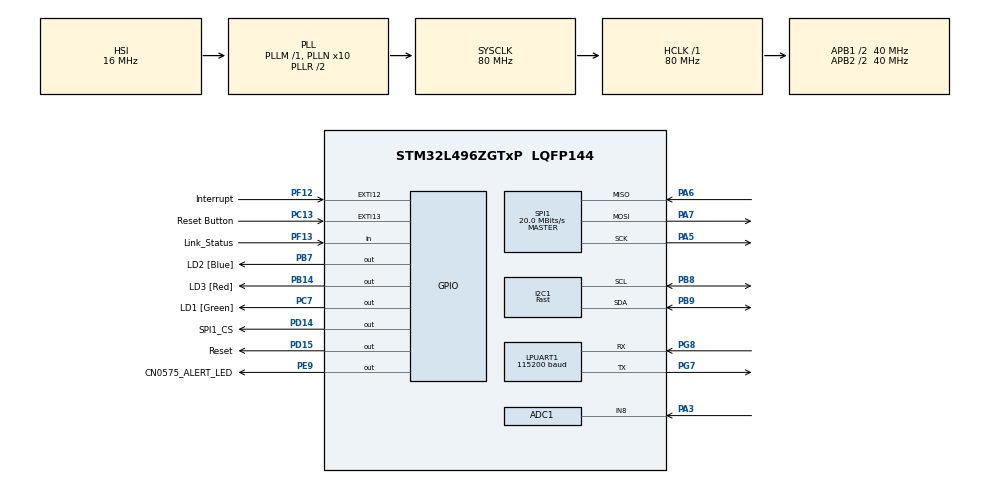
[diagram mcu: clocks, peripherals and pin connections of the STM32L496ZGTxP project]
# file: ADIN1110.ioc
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ADC1.Channel-0\#ChannelRegularConversion=ADC_CHANNEL_8
ADC1.ContinuousConvMode=ENABLE
ADC1.DMAContinuousRequests=ENABLE
ADC1.EnableAnalogWatchDog2=false
ADC1.EnableInjectedConversion=DISABLE
ADC1.NbrOfConversionFlag=1
ADC1.OffsetNumber-0\#ChannelRegularConversion=ADC_OFFSET_NONE
ADC1.Overrun=ADC_OVR_DATA_OVERWRITTEN
ADC1.OversamplingMode=ENABLE
ADC1.Rank-0\#ChannelRegularConversion=1
ADC1.Ratio=ADC_OVERSAMPLING_RATIO_16
ADC1.RightBitShift=ADC_RIGHTBITSHIFT_2
ADC1.SamplingTime-0\#ChannelRegularConversion=ADC_SAMPLETIME_640CYCLES_5
ADC1.master=1
Dma.ADC1.2.Direction=DMA_PERIPH_TO_MEMORY
Dma.ADC1.2.Instance=DMA2_Channel3
Dma.ADC1.2.MemDataAlignment=DMA_MDATAALIGN_HALFWORD
Dma.ADC1.2.MemInc=DMA_MINC_ENABLE
Dma.ADC1.2.Mode=DMA_CIRCULAR
Dma.ADC1.2.PeriphDataAlignment=DMA_PDATAALIGN_HALFWORD
Dma.ADC1.2.PeriphInc=DMA_PINC_DISABLE
Dma.ADC1.2.Priority=DMA_PRIORITY_LOW
Dma.I2C1_RX.3.Direction=DMA_PERIPH_TO_MEMORY
Dma.I2C1_RX.3.Instance=DMA2_Channel6
Dma.I2C1_RX.3.MemDataAlignment=DMA_MDATAALIGN_BYTE
Dma.I2C1_RX.3.MemInc=DMA_MINC_ENABLE
Dma.I2C1_RX.3.Mode=DMA_NORMAL
Dma.I2C1_RX.3.PeriphDataAlignment=DMA_PDATAALIGN_BYTE
Dma.I2C1_RX.3.PeriphInc=DMA_PINC_DISABLE
Dma.I2C1_RX.3.Priority=DMA_PRIORITY_LOW
Dma.I2C1_TX.4.Direction=DMA_MEMORY_TO_PERIPH
Dma.I2C1_TX.4.Instance=DMA2_Channel7
Dma.I2C1_TX.4.MemDataAlignment=DMA_MDATAALIGN_BYTE
Dma.I2C1_TX.4.MemInc=DMA_MINC_ENABLE
Dma.I2C1_TX.4.Mode=DMA_NORMAL
Dma.I2C1_TX.4.PeriphDataAlignment=DMA_PDATAALIGN_BYTE
Dma.I2C1_TX.4.PeriphInc=DMA_PINC_DISABLE
Dma.I2C1_TX.4.Priority=DMA_PRIORITY_LOW
Dma.Request0=SPI1_RX
Dma.Request1=SPI1_TX
Dma.Request2=ADC1
Dma.Request3=I2C1_RX
Dma.Request4=I2C1_TX
Dma.SPI1_RX.0.Direction=DMA_PERIPH_TO_MEMORY
Dma.SPI1_RX.0.Instance=DMA1_Channel2
Dma.SPI1_RX.0.MemDataAlignment=DMA_MDATAALIGN_BYTE
Dma.SPI1_RX.0.MemInc=DMA_MINC_ENABLE
Dma.SPI1_RX.0.Mode=DMA_NORMAL
Dma.SPI1_RX.0.PeriphDataAlignment=DMA_PDATAALIGN_BYTE
Dma.SPI1_RX.0.PeriphInc=DMA_PINC_DISABLE
Dma.SPI1_RX.0.Priority=DMA_PRIORITY_VERY_HIGH
Dma.SPI1_TX.1.Direction=DMA_MEMORY_TO_PERIPH
Dma.SPI1_TX.1.Instance=DMA1_Channel3
Dma.SPI1_TX.1.MemDataAlignment=DMA_MDATAALIGN_BYTE
Dma.SPI1_TX.1.MemInc=DMA_MINC_ENABLE
Dma.SPI1_TX.1.Mode=DMA_NORMAL
Dma.SPI1_TX.1.PeriphDataAlignment=DMA_PDATAALIGN_BYTE
Dma.SPI1_TX.1.PeriphInc=DMA_PINC_DISABLE
Dma.SPI1_TX.1.Priority=DMA_PRIORITY_VERY_HIGH
FREERTOS.Tasks01=defaultTask,24,128,StartDefaultTask,Default,NULL,Dynamic,NULL,NULL
FREERTOS.configCHECK_FOR_STACK_OVERFLOW=2
FREERTOS.configENABLE_FPU=1
FREERTOS.configGENERATE_RUN_TIME_STATS=1
FREERTOS.configTOTAL_HEAP_SIZE=43008
FREERTOS.configUSE_DAEMON_TASK_STARTUP_HOOK=1
FREERTOS.configUSE_IDLE_HOOK=1
FREERTOS.configUSE_MALLOC_FAILED_HOOK=1
FREERTOS.configUSE_NEWLIB_REENTRANT=1
FREERTOS.configUSE_STATS_FORMATTING_FUNCTIONS=1
FREERTOS.configUSE_TICK_HOOK=1
I2C1.I2C_Coeff_DF=1
I2C1.I2C_Fall_Time=300
I2C1.I2C_Rise_Time=300
I2C1.I2C_Speed_Mode=I2C_Fast
I2C1.Timing=0x00F6122E
LPUART1.BaudRate=115200
LPUART1.WordLength=UART_WORDLENGTH_8B
Mcu.Family=STM32L4
Mcu.Name=STM32L496ZGTxP
Mcu.Package=LQFP144
NVIC.DMA1_Channel2_IRQn=true\:0\:0\:true\:true\:true\:3\:false\:true\:true\:true
NVIC.DMA1_Channel3_IRQn=true\:0\:0\:true\:true\:true\:2\:false\:true\:true\:true
NVIC.DMA2_Channel3_IRQn=true\:5\:0\:true\:true\:true\:9\:false\:true\:true\:true
NVIC.DMA2_Channel6_IRQn=true\:5\:0\:true\:true\:true\:7\:false\:true\:true\:true
NVIC.DMA2_Channel7_IRQn=true\:5\:0\:true\:true\:true\:8\:false\:true\:true\:true
NVIC.EXTI15_10_IRQn=true\:0\:0\:true\:true\:true\:4\:false\:true\:true\:true
NVIC.I2C1_ER_IRQn=true\:5\:0\:false\:true\:true\:6\:true\:true\:true\:true
NVIC.I2C1_EV_IRQn=true\:5\:0\:false\:true\:true\:5\:true\:true\:true\:true
NVIC.PriorityGroup=NVIC_PRIORITYGROUP_4
NVIC.SPI1_IRQn=true\:0\:0\:true\:true\:true\:1\:false\:true\:true\:true
NVIC.TIM6_DAC_IRQn=true\:15\:0\:false\:false\:true\:false\:false\:true\:true
NVIC.TimeBase=TIM6_DAC_IRQn
NVIC.TimeBaseIP=TIM6
PA3.Signal=ADCx_IN8
PA5.Mode=Full_Duplex_Master
PA5.Signal=SPI1_SCK
PA6.Mode=Full_Duplex_Master
PA6.Signal=SPI1_MISO
PA7.Mode=Full_Duplex_Master
PA7.Signal=SPI1_MOSI
PB14.GPIO_Label=LD3 [Red] 
PB14.Signal=GPIO_Output
PB7.GPIO_Label=LD2 [Blue] 
PB7.Signal=GPIO_Output
PB8.Mode=I2C
PB8.Signal=I2C1_SCL
PB9.Mode=I2C
PB9.Signal=I2C1_SDA
PC13.GPIO_Label=Reset Button
PC13.GPIO_ModeDefaultEXTI=GPIO_MODE_IT_RISING_FALLING
PC13.GPIO_PuPd=GPIO_PULLDOWN
PC13.Signal=GPXTI13
PC14-OSC32_IN\ (PC14).Mode=LSE-External-Oscillator
PC14-OSC32_IN\ (PC14).Signal=RCC_OSC32_IN
PC15-OSC32_OUT\ (PC15).Mode=LSE-External-Oscillator
PC15-OSC32_OUT\ (PC15).Signal=RCC_OSC32_OUT
PC7.GPIO_Label=LD1 [Green]
PC7.Signal=GPIO_Output
PD14.GPIO_Label=SPI1_CS
PD14.GPIO_Speed=GPIO_SPEED_FREQ_VERY_HIGH
PD14.Signal=GPIO_Output
PD15.GPIO_Label=Reset
PD15.PinState=GPIO_PIN_SET
PD15.Signal=GPIO_Output
PE9.GPIO_Label=CN0575_ALERT_LED
PE9.PinState=GPIO_PIN_SET
PE9.Signal=GPIO_Output
PF0.Signal=I2C2_SDA
PF1.Signal=I2C2_SCL
PF12.GPIO_Label=Interrupt
PF12.GPIO_ModeDefaultEXTI=GPIO_MODE_IT_FALLING
PF12.Signal=GPXTI12
PF13.GPIO_Label=Link_Status
PF13.Signal=GPIO_Input
PG7.Mode=Asynchronous
PG7.Signal=LPUART1_TX
PG8.Mode=Asynchronous
PG8.Signal=LPUART1_RX
ProjectManager.HeapSize=0x200
ProjectManager.StackSize=0x400
ProjectManager.TargetToolchain=STM32CubeIDE
RCC.48MHZClocksFreq_Value=24000000
RCC.ADCFreq_Value=80000000
RCC.AHBFreq_Value=80000000
RCC.APB1CLKDivider=RCC_HCLK_DIV2
RCC.APB1Freq_Value=40000000
RCC.APB1TimFreq_Value=80000000
RCC.APB2CLKDivider=RCC_HCLK_DIV2
RCC.APB2Freq_Value=40000000
RCC.APB2TimFreq_Value=80000000
RCC.CortexFreq_Value=80000000
RCC.HCLKFreq_Value=80000000
RCC.HSE_VALUE=8000000
RCC.HSI48_VALUE=48000000
RCC.HSI_VALUE=16000000
RCC.MSIClockRange=RCC_MSIRANGE_9
RCC.MSI_VALUE=24000000
RCC.PLLMUL=RCC_PLL_MUL9
RCC.PLLN=10
RCC.PLLSAI1N=10
RCC.PLLSourceVirtual=RCC_PLLSOURCE_HSI
RCC.PRESCALERUSB=RCC_USBCLKSOURCE_PLL_DIV1_5
RCC.RTCClockSelection=RCC_RTCCLKSOURCE_LSE
RCC.SYSCLKFreq_VALUE=80000000
RCC.SYSCLKSource=RCC_SYSCLKSOURCE_PLLCLK
RCC.SYSCLKSourceVirtual=RCC_SYSCLKSOURCE_PLLCLK
RCC.USBFreq_Value=80000000
RCC.VCOOutputFreq_Value=160000000
RTC.DayLightSaving=RTC_DAYLIGHTSAVING_NONE
SH.ADCx_IN8.0=ADC1_IN8,IN8-Single-Ended
SPI1.BaudRatePrescaler=SPI_BAUDRATEPRESCALER_2
SPI1.CLKPhase=SPI_PHASE_2EDGE
SPI1.CLKPolarity=SPI_POLARITY_HIGH
SPI1.CRCCalculation=SPI_CRCCALCULATION_DISABLE
SPI1.CalculateBaudRate=20.0 MBits/s
SPI1.DataSize=SPI_DATASIZE_8BIT
SPI1.Direction=SPI_DIRECTION_2LINES
SPI1.FirstBit=SPI_FIRSTBIT_MSB
SPI1.Mode=SPI_MODE_MASTER
SPI1.VirtualType=VM_MASTER
VP_FREERTOS_VS_CMSIS_V2.Mode=CMSIS_V2
VP_RTC_VS_RTC_Activate.Mode=RTC_Enabled
VP_RTC_VS_RTC_Calendar.Mode=RTC_Calendar
VP_SYS_VS_tim6.Mode=TIM6
board=NUCLEO-L496ZG-P

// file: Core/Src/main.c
/* USER CODE BEGIN Header */
/**
 ******************************************************************************
 * @file           : main.c
 * @brief          : Main Program Body for CN0575 SPE Board Project
 * @details        : This file serves as the entry point for the STM32L496ZG-P Nucleo board
 *                   in the CN0575 Single Pair Ethernet (SPE) board project. It initializes
 *                   hardware peripherals (SPI1, UART, ADC, I2C, GPIO, RTC) and configures
 *                   the system clock. Depending on the USE_LWIP define, it either sets up
 *                   a standalone ADIN1110 MAC-PHY test (sending/receiving Ethernet frames)
 *                   or initializes lwIP with FreeRTOS tasks for secure MQTT transmission
 *                   of sensor data (ADXL345, TMP102, ADC1) over TLSv1.2 via the ADIN1110.
 *                   Uses TIM6 as the FreeRTOS timebase source.
 * @addtogroup main Main Module
 * @{
 ******************************************************************************
 * @attention
 *
 * Copyright (c) 2024 STMicroelectronics.
 * All rights reserved.
 *
 * This software is licensed under terms that can be found in the LICENSE file
 * in the root directory of this software component.
 * If no LICENSE file comes with this software, it is provided AS-IS.
 *
 ******************************************************************************
 */
/* USER CODE END Header */
#include "main.h"
#include "cmsis_os.h"
#include "adc.h"
#include "dma.h"
#include "i2c.h"
#include "usart.h"
#include "rtc.h"
#include "spi.h"
#include "gpio.h"

/* USER CODE BEGIN Includes */
#include "adin1110.h"
#include "boardsupport.h"
#include "frames.h"
#ifdef USE_LWIP
#include "lwIP_adin1110_app.h"
#endif /* USE_LWIP */

#include <inttypes.h>
#include <stdio.h>
#include <string.h>
/* USER CODE END Includes */

/* USER CODE BEGIN PV */

/** @brief ADIN1110 device structure for standalone mode. */
adin1110_DeviceStruct_t dev;

/** @brief Handle for the ADIN1110 device, used in both modes. */
adin1110_DeviceHandle_t hDevice = &dev;

#ifdef LAYER_2

/** @brief Memory allocation for ADIN1110 driver in standalone mode. */
uint8_t devMem[ADIN1110_DEVICE_SIZE];

/** @brief Driver configuration for ADIN1110 in standalone mode (FCS check disabled). */
adin1110_DriverConfig_t drvConfig = { .pDevMem = (void*) devMem, .devMemSize =
		sizeof(devMem), .fcsCheckEn = false, };

/**
  * @brief Prints ADIN1110 statistics in standalone mode
  * @param [in] hDevice Pointer to the ADIN1110 device handle
  * @details Logs frame counts and error statistics via UART for standalone testing.
  */
void printStats(adin1110_DeviceHandle_t hDevice);

/** @brief Destination MAC address for standalone frame testing (Dell MAC). */
uint8_t dest_mac[6] = { 0xAC, 0x1A, 0x3D, 0xAC, 0xD0, 0x33 };

/** @brief Source MAC address for standalone frame testing. */
uint8_t mySourceMac[6] = { 0x00, 0xE0, 0x22, 0xFE, 0xDA, 0xCA };

/** @brief EtherType for standalone frame testing (local experimental). */
uint16_t myEtherType = 0x88B5;

/** @brief Payload string for standalone frame testing. */
const char payloadStr[] = "CMD:RUN|notepad.exe|Hello from ADIN1110!";

/** @brief Length of the payload string. */
uint32_t payloadLen = strlen(payloadStr);

/** @brief Index of transmitted frames in standalone mode. */
uint32_t txIdx = 0;

/** @brief Index of received frames in standalone mode. */
volatile uint32_t rxIdx = 0;

/** @brief Expected next transmit frame index. */
volatile uint32_t expectedTxIdx;

/** @brief Expected next receive frame index. */
volatile uint32_t expectedRxIdx;

/** @brief Count of transmit frame index errors. */
volatile uint32_t errorTxIdx;

/** @brief Count of receive frame index errors. */
volatile uint32_t errorRxIdx;

/** @brief Receive buffer array for standalone mode, aligned for DMA. */
static uint8_t rxBuf[BUFF_DESC_COUNT][MAX_FRAME_BUF_SIZE] __attribute__((aligned(4)));

/** @brief Transmit buffer array for standalone mode, aligned for DMA. */
static uint8_t txBuf[BUFF_DESC_COUNT][MAX_FRAME_BUF_SIZE] __attribute__((aligned(4)));

/** @brief Availability flags for transmit buffers in standalone mode. */
bool txBufAvailable[BUFF_DESC_COUNT];

#else /* LAYER_2 not defined */

/** @brief Board configuration details for lwIP mode. */
board_t boardDetails;

/** @brief lwIP and ADIN1110 integration structure for lwIP mode. */
LwIP_ADIN1110_t myConn;

#endif  /* LAYER_2 */

#ifdef LAYER_2

/**
  * @brief Transmit callback for ADIN1110 in standalone mode
  * @param [in] pCBParam User-defined parameter (unused)
  * @param [in] Event Event identifier (unused)
  * @param [in] pArg Pointer to the transmitted buffer descriptor
  * @details Updates transmit index, checks for errors, and marks buffer as available.
  */
static void txCallback(void *pCBParam, uint32_t Event, void *pArg) {
	adi_eth_BufDesc_t *pTxBufDesc = (adi_eth_BufDesc_t*) pArg;
	uint32_t idx;

	txIdx++;
	memcpy(&idx, &pTxBufDesc->pBuf[14], 4);

	if (idx != expectedTxIdx) {
		errorTxIdx++;
	}
	expectedTxIdx = idx + 1;
	for (uint32_t i = 0; i < BUFF_DESC_COUNT; i++) {
		if (&txBuf[i][0] == pTxBufDesc->pBuf) {
			txBufAvailable[i] = true;
			break;
		}
	}
}

/**
  * @brief Receive callback for ADIN1110 in standalone mode
  * @param [in] pCBParam Pointer to the ADIN1110 device handle
  * @param [in] Event Event identifier (unused)
  * @param [in] pArg Pointer to the received buffer descriptor
  * @details Updates receive index, checks for errors, and resubmits the buffer.
  */
static void rxCallback(void *pCBParam, uint32_t Event, void *pArg) {
	adin1110_DeviceHandle_t hDevice = (adin1110_DeviceHandle_t) pCBParam;
	adi_eth_BufDesc_t *pRxBufDesc = (adi_eth_BufDesc_t*) pArg;
	uint32_t idx;

	rxIdx++;
	memcpy(&idx, &pRxBufDesc->pBuf[14], 4);

	if (idx != expectedRxIdx) {
		errorRxIdx++;
	}
	expectedRxIdx = idx + 1;

	adin1110_SubmitRxBuffer(hDevice, pRxBufDesc);
}

/**
  * @brief Link change callback for ADIN1110 in standalone mode
  * @param [in] pCBParam User-defined parameter (unused)
  * @param [in] Event Event identifier (unused)
  * @param [in] pArg Pointer to the new link status
  * @details Updates LED (LD3) and logs link state changes via UART.
  */
void cbLinkChange(void *pCBParam, uint32_t Event, void *pArg) {
	adi_eth_LinkStatus_e linkStatus;
	linkStatus = *(adi_eth_LinkStatus_e*) pArg;
	if (linkStatus == ADI_ETH_LINK_STATUS_UP) {
		DEBUG_MESSAGE("Ethernet Link Status: UP\r");
		HAL_GPIO_WritePin(LD3_GPIO_Port, LD3_Pin, GPIO_PIN_SET); // Turn on LD3
	} else {
		DEBUG_MESSAGE("Ethernet Link Status: DOWN\r");
		HAL_GPIO_WritePin(LD3_GPIO_Port, LD3_Pin, GPIO_PIN_RESET); // Turn off LD3
	}
}
#endif  /* LAYER_2 */
/* USER CODE END PV */

void SystemClock_Config(void);
void MX_FREERTOS_Init(void);
static void MX_NVIC_Init(void);

/* USER CODE BEGIN 0 */

#ifdef LAYER_2
void printStats(adin1110_DeviceHandle_t hDevice) {
	adi_eth_Result_e result = ADI_ETH_SUCCESS;
	adi_eth_MacStatCounters_t stats;
	bool fail;

	result = adin1110_GetStatCounters(hDevice, &stats);
	DEBUG_RESULT("adin1110_GetStatCounters", result, ADI_ETH_SUCCESS);

	fail = false;
	fail = fail || (errorTxIdx || errorRxIdx);
	fail = fail || (stats.RX_CRC_ERR_CNT > 0);
	fail = fail || (stats.RX_ALGN_ERR_CNT > 0);
	fail = fail || (stats.RX_LS_ERR_CNT > 0);
	fail = fail || (stats.RX_PHY_ERR_CNT > 0);
	fail = fail || (stats.RX_DROP_FULL_CNT > 0);
	fail = fail || (stats.RX_DROP_FILT_CNT > 0);

	if (fail) {
		DEBUG_MESSAGE("Result: FAIL\r");
		DEBUG_MESSAGE("    Tx index errors: %" PRIu32 "\r", errorTxIdx);
		DEBUG_MESSAGE("    Rx index errors: %" PRIu32 "\r", errorRxIdx);
		BSP_ErrorLed(true);
	} else {
		DEBUG_MESSAGE("Result: PASS\r");
	}
	DEBUG_MESSAGE("Summary:\r");
	DEBUG_MESSAGE("     Sent frames:        %" PRIu32 "\r", txIdx);
	DEBUG_MESSAGE("     Received frames:    %" PRIu32 "\r", rxIdx);
	DEBUG_MESSAGE("     Statistics counters:\r");
	DEBUG_MESSAGE("         TX_FRM_CNT         = %" PRIu32 "\r",
			stats.TX_FRM_CNT);
	DEBUG_MESSAGE("         TX_UCAST_CNT       = %" PRIu32 "\r",
			stats.TX_UCAST_CNT);
	DEBUG_MESSAGE("         TX_MCAST_CNT       = %" PRIu32 "\r",
			stats.TX_MCAST_CNT);
	DEBUG_MESSAGE("         TX_BCAST_CNT       = %" PRIu32 "\r",
			stats.TX_BCAST_CNT);
	DEBUG_MESSAGE("         RX_FRM_CNT         = %" PRIu32 "\r",
			stats.RX_FRM_CNT);
	DEBUG_MESSAGE("         RX_UCAST_CNT       = %" PRIu32 "\r",
			stats.RX_UCAST_CNT);
	DEBUG_MESSAGE("         RX_MCAST_CNT       = %" PRIu32 "\r",
			stats.RX_MCAST_CNT);
	DEBUG_MESSAGE("         RX_BCAST_CNT       = %" PRIu32 "\r",
			stats.RX_BCAST_CNT);
	DEBUG_MESSAGE("         RX_CRC_ERR_CNT     = %" PRIu32 "\r",
			stats.RX_CRC_ERR_CNT);
	DEBUG_MESSAGE("         RX_ALGN_ERR_CNT    = %" PRIu32 "\r",
			stats.RX_ALGN_ERR_CNT);
	DEBUG_MESSAGE("         RX_LS_ERR_CNT      = %" PRIu32 "\r",
			stats.RX_LS_ERR_CNT);
	DEBUG_MESSAGE("         RX_PHY_ERR_CNT     = %" PRIu32 "\r",
			stats.RX_PHY_ERR_CNT);
	DEBUG_MESSAGE("         RX_DROP_FULL_CNT   = %" PRIu32 "\r",
			stats.RX_DROP_FULL_CNT);
	DEBUG_MESSAGE("         RX_DROP_FILT_CNT   = %" PRIu32 "\r",
			stats.RX_DROP_FILT_CNT);
}
#endif  /* LAYER_2 */

/* USER CODE END 0 */

int main(void)
{

  /* MCU Configuration--------------------------------------------------------*/

  /* Reset of all peripherals, Initializes the Flash interface and the Systick. */
  HAL_Init();

  /* Configure the system clock */
  SystemClock_Config();

  /* Initialize all configured peripherals */
  MX_GPIO_Init();
  MX_DMA_Init();
  MX_SPI1_Init();
  MX_LPUART1_UART_Init();
  MX_ADC1_Init();
  MX_RTC_Init();
  MX_I2C1_Init();

  /* Initialize interrupts */
  MX_NVIC_Init();
  /* USER CODE BEGIN 2 */
#ifdef LAYER_2
	adi_eth_Result_e result;
	adin1110_DeviceStruct_t deviceStruct;
	adin1110_DeviceHandle_t hDevice = &deviceStruct;

	#else /* LAYER_2 not defined */
	boardDetails.mac[0] = 0x00;
	boardDetails.mac[1] = 0xE0;
	boardDetails.mac[2] = 0x22;
	boardDetails.mac[3] = 0xFE;
	boardDetails.mac[4] = 0xDA;
	boardDetails.mac[5] = 0xCA;

#ifndef IP_FIXED
	/*For IP Address Fixed Settings, make sure to setup a static DHCP lease in the 2303-8SP1 switch and uncomment the ip address, net_mask and gateway. Most importantly, change from IP_DYNAMIC to IP_FIXED*/
	boardDetails.ip_addr[0] = 192;
	boardDetails.ip_addr[1] = 168;
	boardDetails.ip_addr[2] = 1;
	boardDetails.ip_addr[3] = 10;
	boardDetails.net_mask[0] = 255;
	boardDetails.net_mask[1] = 255;
	boardDetails.net_mask[2] = 255;
	boardDetails.net_mask[3] = 0;
	boardDetails.gateway[0] = 192;
	boardDetails.gateway[1] = 168;
	boardDetails.gateway[2] = 1;
	boardDetails.gateway[3] = 1;
#else
	boardDetails.ip_addr_fixed = IP_FIXED;

#endif /* IP_FIXED */

#endif  /* LAYER_2 */

#ifdef LAYER_2
	for (uint32_t i = 0; i < ADIN1110_INIT_ITER; i++) {
		result = adin1110_Init(hDevice, &drvConfig);
		if (result == ADI_ETH_SUCCESS) {
			break;
		}
	}

	DEBUG_RESULT("No MACPHY device found", result, ADI_ETH_SUCCESS);

	result = adin1110_AddAddressFilter(hDevice, &macAddr[0][0], NULL, 0);
	DEBUG_RESULT("adin1110_AddAddressFilter", result, ADI_ETH_SUCCESS);

	result = adin1110_AddAddressFilter(hDevice, &macAddr[1][0], NULL, 0);
	DEBUG_RESULT("adin1110_AddAddressFilter", result, ADI_ETH_SUCCESS);

	result = adin1110_SyncConfig(hDevice);
	DEBUG_RESULT("adin1110_SyncConfig", result, ADI_ETH_SUCCESS);

	result = adin1110_RegisterCallback(hDevice, cbLinkChange,
			ADI_MAC_EVT_LINK_CHANGE);
	DEBUG_RESULT("adin1110_RegisterCallback (ADI_MAC_EVT_LINK_CHANGE)", result,
			ADI_ETH_SUCCESS);

	adi_eth_BufDesc_t rxBufDesc[BUFF_DESC_COUNT];
	adi_eth_BufDesc_t txBufDesc[BUFF_DESC_COUNT];
	uint32_t txBufDescIdx = 0;
	adi_eth_LinkStatus_e linkStatus;
	uint32_t frameIdx = 0;
	uint32_t heartbeatTicks = 0;
	uint32_t heartbeatCheckTime = 0;

	for (uint32_t i = 0; i < BUFF_DESC_COUNT; i++) {
		memcpy(&txBuf[i], &testFrames[i % 2][0], MAX_FRAME_SIZE);
		txBufAvailable[i] = true;

		rxBufDesc[i].pBuf = &rxBuf[i][0];
		rxBufDesc[i].bufSize = MAX_FRAME_BUF_SIZE;
		rxBufDesc[i].cbFunc = rxCallback;
		result = adin1110_SubmitRxBuffer(hDevice, &rxBufDesc[i]);
	}

	result = adin1110_Enable(hDevice);
	DEBUG_RESULT("Device enable error", result, ADI_ETH_SUCCESS);

	do {
		result = adin1110_GetLinkStatus(hDevice, &linkStatus);
		DEBUG_RESULT("adin1110_GetLinkStatus", result, ADI_ETH_SUCCESS);
	} while (linkStatus != ADI_ETH_LINK_STATUS_UP);
	HAL_Delay(5000);

	expectedRxIdx = 0;
	expectedTxIdx = 0;
	errorTxIdx = 0;
	errorRxIdx = 0;
	#else /* LAYER_2 not defined */

	/* Initialize lwIP stack */
	uint32_t result = discoveradin1110(&hDevice);
	DEBUG_RESULT("Failed to access ADIN1110", result, 0);

	LwIP_StructInit(&myConn, &hDevice, boardDetails.mac);
	LwIP_Init(&myConn, &boardDetails);
	LwIP_ADIN1110LinkInput(&myConn.netif);
	BSP_delayMs(500);
	netif_set_link_up(&myConn.netif);
	I2C_InitSemaphore();

	if (HAL_ADC_Start_DMA(&hadc1, (uint32_t*) adcBuffer, ADC_BUFFER_SIZE)
			!= HAL_OK) {
		printf("ADC DMA start failed!\n");
		Error_Handler();
	}

  /* USER CODE END 2 */

  /* Init scheduler */
  osKernelInitialize();

  /* Call init function for freertos objects (in cmsis_os2.c) */
  MX_FREERTOS_Init();

  /* Start scheduler */
  osKernelStart();

  /* We should never get here as control is now taken by the scheduler */

  /* Infinite loop */
  /* USER CODE BEGIN WHILE */
#endif  /* LAYER_2 */
	/* Uncomment these variable declarations when using lwIP stack*/
#ifdef USE_LWIP
	while (1) {
#endif  /* USE_LWIP */
#ifdef LAYER_2
	while (!FRAME_COUNT || (txIdx < FRAME_COUNT)) {
	#endif  /* LAYER_2 */
    /* USER CODE END WHILE */

    /* USER CODE BEGIN 3 */
#ifdef USE_LWIP
	}
#endif  /* USE_LWIP */

#ifdef LAYER_2
		uint32_t now = BSP_SysNow();

		if ((now - heartbeatCheckTime) >= 250) {
			heartbeatCheckTime = now;
			BSP_HeartBeat();
			heartbeatTicks++;

			if (heartbeatTicks >= 8) {
				heartbeatTicks = 0;
				printStats(hDevice);
			}
		}

		if (txBufAvailable[txBufDescIdx]) {

			memset(txBuf[txBufDescIdx], 0, MAX_FRAME_SIZE);

			memcpy(&txBuf[txBufDescIdx][0], dest_mac, 6);
			memcpy(&txBuf[txBufDescIdx][6], mySourceMac, 6);

			txBuf[txBufDescIdx][12] = (myEtherType >> 8) & 0xFF;
			txBuf[txBufDescIdx][13] = (myEtherType) & 0xFF;

			uint32_t *pIndex = (uint32_t*) &txBuf[txBufDescIdx][14];
			*pIndex = frameIdx;

			size_t payloadOffset = 18;
			memcpy(&txBuf[txBufDescIdx][payloadOffset], payloadStr, payloadLen);
			size_t totalLen = payloadOffset + payloadLen;
			if (totalLen < 64)
				totalLen = 64;

			txBufDesc[txBufDescIdx].pBuf = &txBuf[txBufDescIdx][0];
			txBufDesc[txBufDescIdx].trxSize = totalLen;
			txBufDesc[txBufDescIdx].bufSize = MAX_FRAME_BUF_SIZE;
			txBufDesc[txBufDescIdx].egressCapt = ADI_MAC_EGRESS_CAPTURE_NONE;
			txBufDesc[txBufDescIdx].cbFunc = txCallback;

			txBufAvailable[txBufDescIdx] = false;

			adi_eth_Result_e res = adin1110_SubmitTxBuffer(hDevice,
					&txBufDesc[txBufDescIdx]);

			if (res == ADI_ETH_SUCCESS) {
				txBufDescIdx = (txBufDescIdx + 1) % BUFF_DESC_COUNT;
				frameIdx++;
			} else {
				txBufAvailable[txBufDescIdx] = true;
			}
		}
	}

	while (rxIdx < FRAME_COUNT)
		;
	while (rxIdx < txIdx)
		;

	printStats(hDevice);
	adi_eth_Result_e uninitRes = adin1110_UnInit(hDevice);
	DEBUG_RESULT("adin1110_UnInit", uninitRes, ADI_ETH_SUCCESS);
	while (1) {
	}
	#endif  /* LAYER_2 */

  /* USER CODE END 3 */
}

void SystemClock_Config(void)
{
  RCC_OscInitTypeDef RCC_OscInitStruct = {0};
  RCC_ClkInitTypeDef RCC_ClkInitStruct = {0};

  /** Configure the main internal regulator output voltage
  */
  if (HAL_PWREx_ControlVoltageScaling(PWR_REGULATOR_VOLTAGE_SCALE1) != HAL_OK)
  {
    Error_Handler();
  }

  /** Configure LSE Drive Capability
  */
  HAL_PWR_EnableBkUpAccess();
  __HAL_RCC_LSEDRIVE_CONFIG(RCC_LSEDRIVE_LOW);

  /** Initializes the RCC Oscillators according to the specified parameters
  * in the RCC_OscInitTypeDef structure.
  */
  RCC_OscInitStruct.OscillatorType = RCC_OSCILLATORTYPE_HSI|RCC_OSCILLATORTYPE_LSE;
  RCC_OscInitStruct.LSEState = RCC_LSE_ON;
  RCC_OscInitStruct.HSIState = RCC_HSI_ON;
  RCC_OscInitStruct.HSICalibrationValue = RCC_HSICALIBRATION_DEFAULT;
  RCC_OscInitStruct.PLL.PLLState = RCC_PLL_ON;
  RCC_OscInitStruct.PLL.PLLSource = RCC_PLLSOURCE_HSI;
  RCC_OscInitStruct.PLL.PLLM = 1;
  RCC_OscInitStruct.PLL.PLLN = 10;
  RCC_OscInitStruct.PLL.PLLP = RCC_PLLP_DIV2;
  RCC_OscInitStruct.PLL.PLLQ = RCC_PLLQ_DIV2;
  RCC_OscInitStruct.PLL.PLLR = RCC_PLLR_DIV2;
  if (HAL_RCC_OscConfig(&RCC_OscInitStruct) != HAL_OK)
  {
    Error_Handler();
  }

  /** Initializes the CPU, AHB and APB buses clocks
  */
  RCC_ClkInitStruct.ClockType = RCC_CLOCKTYPE_HCLK|RCC_CLOCKTYPE_SYSCLK
                              |RCC_CLOCKTYPE_PCLK1|RCC_CLOCKTYPE_PCLK2;
  RCC_ClkInitStruct.SYSCLKSource = RCC_SYSCLKSOURCE_PLLCLK;
  RCC_ClkInitStruct.AHBCLKDivider = RCC_SYSCLK_DIV1;
  RCC_ClkInitStruct.APB1CLKDivider = RCC_HCLK_DIV2;
  RCC_ClkInitStruct.APB2CLKDivider = RCC_HCLK_DIV2;

  if (HAL_RCC_ClockConfig(&RCC_ClkInitStruct, FLASH_LATENCY_4) != HAL_OK)
  {
    Error_Handler();
  }
}

/**
  * @brief NVIC Configuration.
  * @retval None
  */
static void MX_NVIC_Init(void)
{
  /* SPI1_IRQn interrupt configuration */
  HAL_NVIC_SetPriority(SPI1_IRQn, 0, 0);
  HAL_NVIC_EnableIRQ(SPI1_IRQn);
  /* DMA1_Channel3_IRQn interrupt configuration */
  HAL_NVIC_SetPriority(DMA1_Channel3_IRQn, 0, 0);
  HAL_NVIC_EnableIRQ(DMA1_Channel3_IRQn);
  /* DMA1_Channel2_IRQn interrupt configuration */
  HAL_NVIC_SetPriority(DMA1_Channel2_IRQn, 0, 0);
  HAL_NVIC_EnableIRQ(DMA1_Channel2_IRQn);
  /* EXTI15_10_IRQn interrupt configuration */
  HAL_NVIC_SetPriority(EXTI15_10_IRQn, 0, 0);
  HAL_NVIC_EnableIRQ(EXTI15_10_IRQn);
  /* I2C1_EV_IRQn interrupt configuration */
  HAL_NVIC_SetPriority(I2C1_EV_IRQn, 5, 0);
  HAL_NVIC_EnableIRQ(I2C1_EV_IRQn);
  /* I2C1_ER_IRQn interrupt configuration */
  HAL_NVIC_SetPriority(I2C1_ER_IRQn, 5, 0);
  HAL_NVIC_EnableIRQ(I2C1_ER_IRQn);
  /* DMA2_Channel6_IRQn interrupt configuration */
  HAL_NVIC_SetPriority(DMA2_Channel6_IRQn, 5, 0);
  HAL_NVIC_EnableIRQ(DMA2_Channel6_IRQn);
  /* DMA2_Channel7_IRQn interrupt configuration */
  HAL_NVIC_SetPriority(DMA2_Channel7_IRQn, 5, 0);
  HAL_NVIC_EnableIRQ(DMA2_Channel7_IRQn);
  /* DMA2_Channel3_IRQn interrupt configuration */
  HAL_NVIC_SetPriority(DMA2_Channel3_IRQn, 5, 0);
  HAL_NVIC_EnableIRQ(DMA2_Channel3_IRQn);
}

/* USER CODE BEGIN 4 */

/**
  * @brief GPIO EXTI Callback
  * @param [in] GPIO_Pin The GPIO pin number that triggered the interrupt
  * @details Handles ADIN1110 INT_N and reset button interrupts, invoking callbacks or resetting the system in the CN0575 project.
  */
void HAL_GPIO_EXTI_Callback(uint16_t GPIO_Pin) {
    if (GPIO_Pin == Reset_Button_Pin) {
        DEBUG_MESSAGE("Reset button interrupt triggered.\r\n");
        uint32_t pressStart = HAL_GetTick();
        while (HAL_GPIO_ReadPin(Reset_Button_GPIO_Port, Reset_Button_Pin) == GPIO_PIN_RESET) {
            if ((HAL_GetTick() - pressStart) >= 3000) {
                DEBUG_MESSAGE("User button long press detected: Initiating reset.\r\n");
                BSP_HWReset(true);
                NVIC_SystemReset();
                break;
            }
        }
    }

    if (GPIO_Pin == Interrupt_Pin) {
        ADI_CB callback = getIntCallback();
        void *param = getIntCBParam();
        if (callback != NULL) {
            (*callback)(param, 0, NULL);
        } else {
            DEBUG_MESSAGE("ADIN1110 interrupt triggered but no callback registered!\r\n");
        }
        MX_Led_Toggle();
    }
}

/* USER CODE END 4 */

void HAL_TIM_PeriodElapsedCallback(TIM_HandleTypeDef *htim)
{
  if (htim->Instance == TIM6) {
    HAL_IncTick();
  }
}

void Error_Handler(void)
{
	__disable_irq();
	while (1) {
	}
}

/** @} */

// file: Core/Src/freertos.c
/* USER CODE BEGIN Header */
/**
 ******************************************************************************
 * @file    freertos.c
 * @brief   FreeRTOS Application Code for CN0575 Project
 * @details This file implements FreeRTOS tasks and initialization for the STM32L496ZG-P
 *          Nucleo board in the CN0575 Single Pair Ethernet (SPE) board project. It manages
 *          network maintenance, sensor data collection (ADC, temperature, acceleration),
 *          and MQTT publishing for secure transmission of sensor data over TLSv1.2 via lwIP
 *          and the ADIN1110 MAC-PHY. Uses TIM6 as the timebase source for FreeRTOS scheduling.
 * @addtogroup freertos FreeRTOS Module
 * @{
 ******************************************************************************
 * @attention
 *
 * Copyright (c) 2025 STMicroelectronics.
 * All rights reserved.
 *
 * This software is licensed under terms that can be found in the LICENSE file
 * in the root directory of this software component.
 * If no LICENSE file comes with this software, it is provided AS-IS.
 *
 ******************************************************************************
 */
/* USER CODE END Header */

#include "FreeRTOS.h"
#include "task.h"
#include "main.h"
#include "cmsis_os.h"

/* USER CODE BEGIN Includes */
#include "lwIP_adin1110_app.h"
#include "adin1110.h"
#include "ADIN1110_mac_addr_rdef.h"
#include "lwip/timeouts.h"
#include "lwip/dhcp.h"
#include "netif/etharp.h"
#include "lwip/udp.h"
#include "lwip/netif.h"
#include "tmp102.h"
#include "adxl345.h"
#include "i2c.h"
#include "adc.h"
#include "client_mqtt.h"
#include "lwip/apps/mqtt.h"
#include "lwip/apps/sntp.h"
#include "semphr.h"
#include "sensor_data.h"
#include "lwipopts.h"
#include "lwip/ip_addr.h"
#include "rtc.h"
#ifdef STATS
#include "lwip/ip_addr.h"
#include "lwip/inet_chksum.h"
#include "adin1110_enhanced_stats.h"
#include "lwip/icmp.h"
#include "lwip/raw.h"
#include <math.h>
#endif /* STATS */

/* USER CODE END Includes */

/* USER CODE BEGIN Variables */

extern LwIP_ADIN1110_t myConn;

/** @brief Indicates if MQTT client is connected. */
extern volatile bool mqtt_connected;

/** @brief Indicates if MQTT client is attempting to connect. */
extern volatile bool mqtt_connecting;

/** @brief Tracks DHCP configuration status (0 = not configured). */
volatile int dhcp_configured = 0;

/** @brief Stores the latest sensor data readings. */
SensorData_t latestSensorData = { 0 };

/** @brief Mutex for synchronizing access to sensor data. */
SemaphoreHandle_t sensorDataMutex;

/** @brief Structure to hold averaged and maximum acceleration data from ADXL345. */
AveragedADXL345Data_t averagedADXL345Data = { 0 };

/** @brief Running sum of X-axis acceleration values for averaging. */
float ax_sum = 0.0f;
/** @brief Running sum of Y-axis acceleration values for averaging. */
float ay_sum = 0.0f;
/** @brief Running sum of Z-axis acceleration values for averaging. */
float az_sum = 0.0f;
/** @brief Maximum X-axis acceleration value observed during the sampling period. */
int16_t ax_max = -32768;
/** @brief Maximum Y-axis acceleration value observed during the sampling period. */
int16_t ay_max = -32768;
/** @brief Maximum Z-axis acceleration value observed during the sampling period. */
int16_t az_max = -32768;
/** @brief Number of acceleration samples collected in the current period. */
uint32_t sample_count = 0;

/** @brief Handle for the network maintenance task. */
osThreadId_t networkMaintenanceTaskHandle;

/** @brief Attributes for the network maintenance task. */
const osThreadAttr_t networkMaintenanceTask_attributes = { .name =
		"netMaintTask", .stack_size = 1024 * 8, .priority =
		(osPriority_t) osPriorityRealtime, };

#ifdef STATS
/** @brief Handle for the statistics task. */
osThreadId_t pingTaskHandle;

/** @brief Attributes for the statistics task. */
const osThreadAttr_t pingTask_attributes = {
    .name = "pingTask",
    .stack_size = 32768,
    .priority = osPriorityNormal,
};
#endif /* STATS */

/** @brief Handle for the ADC task. */
osThreadId_t adcTaskHandle;

/** @brief Attributes for the ADC task. */
const osThreadAttr_t adcTask_attributes = { .name = "adcTask",
		.stack_size = 512, .priority = (osPriority_t) osPriorityLow, };

/** @brief Handle for the temperature sensor task. */
osThreadId_t tempTaskHandle;

/** @brief Attributes for the temperature sensor task. */
const osThreadAttr_t tempTask_attributes = { .name = "tempTask", .stack_size =
		512 * 2, .priority = (osPriority_t) osPriorityLow, };

/** @brief Handle for the accelerometer task. */

/** @brief Attributes for the accelerometer task. */
osThreadId_t accelTaskHandle;
const osThreadAttr_t accelTask_attributes = { .name = "accelTask", .stack_size =
		512 * 2, .priority = (osPriority_t) osPriorityNormal, };

/** @brief Handle for the sensor data MQTT task. */
osThreadId_t sensorDataMQTTTaskHandle;

/** @brief Attributes for the sensor data MQTT task. */
const osThreadAttr_t sensorDataMQTTTask_attributes =
		{ .name = "sensorDataMQTTTask", .stack_size = 1024 * 8, .priority =
				osPriorityHigh, };

/* USER CODE END Variables */
/* Definitions for defaultTask */
osThreadId_t defaultTaskHandle;
const osThreadAttr_t defaultTask_attributes = {
  .name = "defaultTask",
  .stack_size = 128 * 4,
  .priority = (osPriority_t) osPriorityNormal,
};

/* USER CODE BEGIN FunctionPrototypes */

/**
 * @brief  Network maintenance task function
 * @param [in] argument  Task argument (not used)
 * @details Manages lwIP network stack, heartbeat LED, and link input for ADIN1110.
 */
void NetworkMaintenanceTask(void *argument);

#ifdef STATS

/**
 * @brief  Ping Task Stats function
 * @param [in] argument  Task argument (not used)
 * @details Sends 10000 pings requests, collects metrics every 10 seconds and averages them, and prints out the statistics when finished
 */
void PingTask(void *argument);

static u8_t ping_recv_callback(void *arg, struct raw_pcb *pcb, struct pbuf *p, const struct ip4_addr *addr);
static uint32_t ping_sent = 0;
static uint32_t ping_received = 0;
static uint16_t ping_seq_num = 0;
static uint32_t ping_lost = 0;
const uint32_t maxPings = 10000; // Send 5000 pings

/**
 * @brief Callback for receiving ICMP echo replies
 * @param [in] arg User argument (unused)
 * @param [in] pcb Raw protocol control block
 * @param [in] p Received packet buffer
 * @param [in] addr Source IP address (IPv4)
 * @return 1 if packet processed, 0 otherwise
 */
static u8_t ping_recv_callback(void *arg, struct raw_pcb *pcb, struct pbuf *p, const struct ip4_addr *addr) {
    if (p != NULL && p->len >= (20 + sizeof(struct icmp_echo_hdr))) {
        struct icmp_echo_hdr *icmp = (struct icmp_echo_hdr *)((uint8_t *)p->payload + 20);
        uint16_t seq = lwip_ntohs(icmp->seqno);
        u8_t icmp_type = ICMPH_TYPE(icmp);
        printf("Received packet from %s, len=%u, type=%u, code=%u, id=0x%04X, seq=%u\n",
               ipaddr_ntoa(addr), p->tot_len, icmp_type, ICMPH_CODE(icmp), lwip_ntohs(icmp->id), seq);
        printf("\n");
        if (icmp_type == 0 && seq >= 1 && seq <= maxPings) {
        	taskENTER_CRITICAL();
            ping_received++;
            printf("PingTask: Received ping reply #%lu\n", ping_received);
            fflush(stdout);
            taskEXIT_CRITICAL();
        } else if (icmp_type == 11) {
            printf("PingTask: Received Time Exceeded (type 11), code %u\n", ICMPH_CODE(icmp));
        } else {
            printf("PingTask: Unexpected ICMP type %u, expected Echo Reply (0)\n", icmp_type);
        }
        pbuf_free(p);
        return 1;
    } else {
        printf("PingTask: Packet too short, len=%u\n", p->tot_len);
        pbuf_free(p);
    }
    return 0;
}

#endif /* STATS */

/**
 * @brief  ADC task function
 * @param [in] argument  Task argument (not used)
 * @details Collects ADC data and updates shared sensor data structure.
 */
void ADCTask(void *argument);

/**
 * @brief  Temperature sensor task function
 * @param [in] argument  Task argument (not used)
 * @details Reads temperature from TMP102 and updates shared sensor data.
 */
void TempTask(void *argument);

/**
 * @brief  Accelerometer task function
 * @param [in] argument  Task argument (not used)
 * @details Reads acceleration data from ADXL345 and updates shared sensor data.
 */
void AccelTask(void *argument);

/**
 * @brief  Sensor data MQTT publishing task function
 * @param [in] argument  Task argument (not used)
 * @details Publishes sensor data via MQTT, manages connection retries.
 */
void SensorDataMQTTTask(void *argument);
/* USER CODE END FunctionPrototypes */

void StartDefaultTask(void *argument);

void MX_FREERTOS_Init(void); /* (MISRA C 2004 rule 8.1) */

/* Hook prototypes */
void configureTimerForRunTimeStats(void);
unsigned long getRunTimeCounterValue(void);
void vApplicationIdleHook(void);
void vApplicationTickHook(void);
void vApplicationStackOverflowHook(xTaskHandle xTask, signed char *pcTaskName);
void vApplicationMallocFailedHook(void);
void vApplicationDaemonTaskStartupHook(void);

/* USER CODE BEGIN 1 */
/* Functions needed when configGENERATE_RUN_TIME_STATS is on */
__weak void configureTimerForRunTimeStats(void) {
	/* Placeholder for configuring a timer for runtime stats; not implemented. */
}

__weak unsigned long getRunTimeCounterValue(void) {
	/* Placeholder for retrieving runtime counter value; returns 0 by default. */
	return 0;
}
/* USER CODE END 1 */

/* USER CODE BEGIN 2 */
/**
 * @brief  FreeRTOS idle hook
 * @details Called when no tasks are running; currently empty in the CN0575 project.
 */
void vApplicationIdleHook(void) {
}

/* USER CODE END 2 */

/* USER CODE BEGIN 3 */
/**
 * @brief  FreeRTOS tick hook
 * @details Called on each FreeRTOS tick (driven by TIM6); currently empty in the CN0575 project.
 */
void vApplicationTickHook(void) {

}
/* USER CODE END 3 */

/* USER CODE BEGIN 4 */

/**
 * @brief  FreeRTOS stack overflow hook
 * @param [in] xTask  Handle of the task that overflowed
 * @param [in] pcTaskName  Name of the task that overflowed
 * @details Logs stack overflow and halts execution in the CN0575 project.
 */
void vApplicationStackOverflowHook(xTaskHandle xTask, signed char *pcTaskName) {
	printf("Stack overflow detected in task: %s\n", pcTaskName);
	taskDISABLE_INTERRUPTS();
	for (;;)
		;
}
/* USER CODE END 4 */

/* USER CODE BEGIN 5 */

/**
 * @brief  FreeRTOS memory allocation failure hook
 * @details Logs memory allocation failure and halts execution in the CN0575 project.
 */
void vApplicationMallocFailedHook(void) {
	printf("Memory allocation failed!\n");
	taskDISABLE_INTERRUPTS();
	for (;;)
		;
}
/* USER CODE END 5 */

/* USER CODE BEGIN DAEMON_TASK_STARTUP_HOOK */

/**
 * @brief  FreeRTOS daemon task startup hook
 * @details Called when daemon tasks start; currently empty in the CN0575 project.
 */
void vApplicationDaemonTaskStartupHook(void) {
}
/* USER CODE END DAEMON_TASK_STARTUP_HOOK */

void MX_FREERTOS_Init(void) {

  /* USER CODE BEGIN RTOS_MUTEX */
	/** @brief Creates mutex for sensor data access synchronization. */
	sensorDataMutex = xSemaphoreCreateMutex();
	if (sensorDataMutex == NULL) {
		printf("Failed to create sensor data mutex!\n");
		Error_Handler();
	}
  /* USER CODE END RTOS_MUTEX */

  /* Create the thread(s) */
  /* creation of defaultTask */
  defaultTaskHandle = osThreadNew(StartDefaultTask, NULL, &defaultTask_attributes);

  /* USER CODE BEGIN RTOS_THREADS */
	/* add threads, ... */

	/** @brief Creates tasks for network, stats, ADC, temperature, acceleration, and MQTT operations. */
	networkMaintenanceTaskHandle = osThreadNew(NetworkMaintenanceTask, NULL,
			&networkMaintenanceTask_attributes);

#ifdef STATS
	pingTaskHandle = osThreadNew(PingTask, myConn.hDevice, &pingTask_attributes);

#else
	adcTaskHandle = osThreadNew(ADCTask, NULL, &adcTask_attributes);
	tempTaskHandle = osThreadNew(TempTask, NULL, &tempTask_attributes);
	accelTaskHandle = osThreadNew(AccelTask, NULL, &accelTask_attributes);
	sensorDataMQTTTaskHandle = osThreadNew(SensorDataMQTTTask, NULL,
			&sensorDataMQTTTask_attributes);
#endif /* STATS*/
  /* USER CODE END RTOS_THREADS */

}

/* USER CODE BEGIN Header_StartDefaultTask */
/**
 * @brief  Function implementing the defaultTask thread
 * @param [in] argument  Not used
 * @details Default task that runs an infinite loop with a minimal delay in the CN0575 project.
 */
/* USER CODE END Header_StartDefaultTask */
void StartDefaultTask(void *argument)
{
	for (;;) {
		osDelay(1);
	}
}

/* USER CODE BEGIN Application */

/**
 * @brief  Network maintenance task
 * @param [in] argument  Not used
 * @details Periodically toggles the heartbeat LED, processes lwIP link input from the ADIN1110,
 *          and checks network timeouts every 1ms in the CN0575 project.
 */
void NetworkMaintenanceTask(void *argument) {
	const uint32_t heartbeatIntervalMs = 1;
	TickType_t lastWakeTime = xTaskGetTickCount();

	for (;;) {
		BSP_HeartBeat();
		while (pDataAvailable(&pQ[0])) {
			LwIP_ADIN1110LinkInput(&myConn.netif);
		}
		sys_check_timeouts();
		vTaskDelayUntil(&lastWakeTime, pdMS_TO_TICKS(heartbeatIntervalMs));
	}
}

#ifdef STATS

/**
 * @brief Ping task for network testing and statistics collection
 * @param [in] argument Pointer to the ADIN1110 device handle
 * @details Performs a ping test by sending 10000 ICMP echo requests to 192.168.1.7,
 *          collects link quality metrics from the ADIN1110 every 10 pings, and prints
 *          statistics after the test completes.
 */
void PingTask(void *argument) {
	adin1110_DeviceHandle_t *hDevice = (adin1110_DeviceHandle_t*) argument;
	const TickType_t pingFrequency = pdMS_TO_TICKS(5);
	const TickType_t perPingTimeout = pdMS_TO_TICKS(5);
	const TickType_t timeout = pdMS_TO_TICKS(60000);
	const uint16_t payload_size = 1472;
	TickType_t xLastPingTime = xTaskGetTickCount();
	TickType_t testStartTime;
	LinkQualitySample samples[NUM_SAMPLES] = { 0 };
	uint32_t sampleIndex = 0;
	adi_eth_Result_e result;
	uint16_t regVal;

	printf("PingTask: Started with hDevice=%p, *hDevice=%p\n", hDevice,
			hDevice ? *hDevice : NULL);
	fflush(stdout);
	if (hDevice == NULL || *hDevice == NULL) {
		printf("PingTask: Invalid device handle\n");
		fflush(stdout);
		vTaskDelete(NULL);
	}

	printf("PingTask: Waiting for DHCP configuration...\n");
	while (!dhcp_supplied_address(&myConn.netif)) {
		vTaskDelay(pdMS_TO_TICKS(1000));
	}
	printf("PingTask: DHCP complete, IP assigned\n");

	struct raw_pcb *pcb = raw_new(IP_PROTO_ICMP);
	if (pcb == NULL) {
		printf("PingTask: Failed to create raw PCB\n");
		fflush(stdout);
		vTaskDelete(NULL);
	}
	raw_bind(pcb, IP_ADDR_ANY);
	raw_recv(pcb, ping_recv_callback, NULL);

	ip_addr_t target;
	ipaddr_aton("192.168.1.7", &target);

	ping_sent = 0;
	ping_received = 0;
	ping_lost = 0;
	ping_seq_num = 0;
	testStartTime = xTaskGetTickCount();

	printf("PingTask: Checking diagnostics clock (0x1E882C)\n");
	result = adin1110_PhyRead(*hDevice, ADDR_CRSM_DIAG_CLK_CTRL, &regVal);
	if (result == ADI_ETH_SUCCESS) {
		printf("Debug: Diagnostics Clock (0x1E882C): %s\n",
				(regVal & BITM_CRSM_DIAG_CLK_CTRL_CRSM_DIAG_CLK_EN) ?
						"Enabled" : "Disabled");
		if (!(regVal & BITM_CRSM_DIAG_CLK_CTRL_CRSM_DIAG_CLK_EN)) {
			printf("Debug: Enabling diagnostics clock (0x1E882C)\n");
			result = adin1110_PhyWrite(*hDevice, ADDR_CRSM_DIAG_CLK_CTRL,
					BITM_CRSM_DIAG_CLK_CTRL_CRSM_DIAG_CLK_EN);
			if (result != ADI_ETH_SUCCESS) {
				printf(
						"Error: Failed to enable diagnostics clock (0x1E882C): 0x%08X\n",
						result);
			}
		}
	} else {
		printf("Error: Failed to read diagnostics clock (0x1E882C): 0x%08X\n",
				result);
	}

	printf("PingTask: Starting test with 10000 pings to %s\n",
			ipaddr_ntoa(&target));
	while (ping_sent < maxPings) {
		if (xTaskGetTickCount() - xLastPingTime >= pingFrequency) {
			struct pbuf *p = pbuf_alloc(PBUF_TRANSPORT,
					sizeof(struct icmp_echo_hdr) + payload_size, PBUF_RAM);
			if (p != NULL) {
				struct icmp_echo_hdr *icmp = (struct icmp_echo_hdr*) p->payload;
				ICMPH_TYPE_SET(icmp, ICMP_ECHO);
				ICMPH_CODE_SET(icmp, 0);
				icmp->chksum = 0;
				icmp->id = 0x1234;
				icmp->seqno = lwip_htons(++ping_seq_num);

				uint8_t *payload = (uint8_t*) (icmp + 1);
				for (int i = 0; i < payload_size; i++) {
					payload[i] = 0x55;
				}

				icmp->chksum = inet_chksum(icmp,
						sizeof(struct icmp_echo_hdr) + payload_size);

				err_t err = raw_sendto(pcb, p, &target);
				if (err == ERR_OK) {
					ping_sent++;
					printf("PingTask: Sent ping #%lu to %s\n", ping_sent,
							ipaddr_ntoa(&target));

					TickType_t pingStartTime = xTaskGetTickCount();
					uint32_t expectedReceived = ping_received + 1;
					while (ping_received < expectedReceived
							&& (xTaskGetTickCount() - pingStartTime)
									< perPingTimeout) {
						vTaskDelay(pdMS_TO_TICKS(1));
					}
					if (ping_received < expectedReceived) {
						ping_lost++;
						printf("PingTask: Timeout waiting for reply #%lu\n",
								ping_sent);
					}

					if (ping_sent % 10 == 0 && sampleIndex < NUM_SAMPLES) {
						printf("PingTask: Collecting sample %lu at ping %lu\n",
								sampleIndex + 1, ping_sent);
						result = collectLinkQualityStats(hDevice,
								&samples[sampleIndex]);
						if (result != ADI_ETH_SUCCESS) {
							printf(
									"Error: Failed to collect sample %lu: 0x%08X\n",
									sampleIndex + 1, result);
						}
						sampleIndex++;
					}

				} else {
					printf("PingTask: Failed to send ping #%lu: %d\n",
							ping_sent + 1, err);
				}
				pbuf_free(p);
			}
			xLastPingTime = xTaskGetTickCount();
		}
		vTaskDelay(1);
	}

	printf("PingTask: Waiting for replies (timeout in %lu ms)\n",
			timeout * portTICK_PERIOD_MS);
	while (ping_received < ping_sent
			&& (xTaskGetTickCount() - testStartTime) < timeout) {
		vTaskDelay(10);
	}

	uint32_t ping_lost = ping_sent - ping_received;
	float packet_loss =
			ping_sent > 0 ? (float) ping_lost / ping_sent * 100.0f : 0.0f;
	printf("PingTask: Ping test complete\n");
	printf("Ping Stats:\n");
	printf("  Sent: %lu\n", ping_sent);
	printf("  Received: %lu\n", ping_received);
	printf("  Lost: %lu\n", ping_lost);
	printf("  Packet Loss: %.2f%%\n", packet_loss);
	printf("PingTask: Calling printEnhancedStats for ping...\n");
	printEnhancedStats(hDevice, samples);
	printf("PingTask: Test finished, deleting task\n");
	vTaskDelete(NULL);
}
#endif /* STATS */

/**
 * @brief  ADC data collection task
 * @param [in] argument  Not used
 * @details Reads ADC data every 9 seconds and updates the shared sensor data structure,
 *          using a mutex for synchronization in the CN0575 project.
 */
void ADCTask(void *argument) {
	for (;;) {
		uint16_t adc_value = adcBuffer[0];
		if (xSemaphoreTake(sensorDataMutex, pdMS_TO_TICKS(100)) == pdTRUE) {
			latestSensorData.adc_value = adc_value;
			xSemaphoreGive(sensorDataMutex);
		}
		osDelay(pdMS_TO_TICKS(5000));
	}
}

/**
 * @brief  Temperature sensor task
 * @param [in] argument  Not used
 * @details Reads temperature from TMP102 every 6 seconds, updates shared sensor data,
 *          and signals sensor readiness in the CN0575 project.
 */
void TempTask(void *argument) {
	for (;;) {
		float temp = TMP102_ReadTemperature();
		if (temp > -1000) {
			if (xSemaphoreTake(sensorDataMutex, pdMS_TO_TICKS(100)) == pdTRUE) {
				latestSensorData.temperature = temp;
				if (!sensors_ready && latestSensorData.accel_x != 0) {
					sensors_ready = true;
				}
				xSemaphoreGive(sensorDataMutex);
			}
		} else {
			printf("TMP102 Read Error\n");
		}
		osDelay(pdMS_TO_TICKS(5000));
	}
}

/**
 * @brief  Accelerometer data collection task
 * @param [in] argument  Not used
 * @details Waits for the system to be ready, initializes the ADXL345 accelerometer,
 *          and then reads acceleration data every 10ms. For each reading, it updates
 *          the running sums and maximum values for each axis, increments the sample count,
 *          and updates the latest sensor data structure. Uses a mutex for thread-safe
 *          access to shared data. Part of the CN0575 project.
 */
void AccelTask(void *argument) {
    int16_t ax, ay, az;
    HAL_StatusTypeDef ret;

    ret = ADXL345_Init(&hi2c1);
    if (ret != HAL_OK) {
        printf("ADXL345 Initialization Failed!\n");
    } else {
        printf("ADXL345 Initialized Successfully!\n");
    }

    for (;;) {
        ret = ADXL345_ReadAccel(&hi2c1, &ax, &ay, &az);
        if (ret == HAL_OK) {
            if (xSemaphoreTake(sensorDataMutex, pdMS_TO_TICKS(100)) == pdTRUE) {
                ax_sum += ax;
                ay_sum += ay;
                az_sum += az;

                if (ax > ax_max) ax_max = ax;
                if (ay > ay_max) ay_max = ay;
                if (az > az_max) az_max = az;

                sample_count++;

                latestSensorData.accel_x = ax;
                latestSensorData.accel_y = ay;
                latestSensorData.accel_z = az;

                if (!sensors_ready && latestSensorData.temperature != 0.0f) {
                    sensors_ready = true;
                }

                xSemaphoreGive(sensorDataMutex);
            }
        } else {
            printf("ADXL345 Read Error!\n");
        }
        osDelay(pdMS_TO_TICKS(10));
    }
}

/**
 * @brief  Sensor data MQTT publishing task
 * @param [in] argument  Not used
 * @details Waits for DHCP configuration, initializes SNTP, and publishes sensor data
 *          via MQTT every 20 seconds in the CN0575 project. It calculates average
 *          acceleration values using accumulated sums and sample count, sets the
 *          maximum acceleration values, and resets the accumulators for the next
 *          interval. Handles MQTT connection and reconnection logic.
 */
void SensorDataMQTTTask(void *argument) {
    static TickType_t lastPublishTime = 0;
    TickType_t lastWakeTime = xTaskGetTickCount();
    const TickType_t frequency = pdMS_TO_TICKS(20000);
    ip_addr_t ntp_server_addr;

    while (!dhcp_supplied_address(&myConn.netif)) {
        printf("Sensor Data MQTT Task: Waiting for DHCP configuration...\n");
        osDelay(pdMS_TO_TICKS(2000));
    }

    if (ip4addr_aton("192.168.1.7", &ntp_server_addr) == 1) {
        sntp_setserver(0, &ntp_server_addr);
        sntp_init();
        printf("SNTP initialized.\n");
    } else {
        printf("Failed to parse NTP server IP address.\n");
    }
    osDelay(pdMS_TO_TICKS(2000));

    for (;;) {
        if (mqtt_connected) {
            TickType_t currentTime = xTaskGetTickCount();
            if (lastPublishTime != 0) {
#ifdef MQTT_CLIENT_DEBUG
                printf("Time since last publish: %lu ms\n",
                       (unsigned long)((currentTime - lastPublishTime) * portTICK_PERIOD_MS));
#endif
            }
            lastPublishTime = currentTime;

            if (xSemaphoreTake(sensorDataMutex, pdMS_TO_TICKS(100)) == pdTRUE) {
                if (sample_count > 0) {
                    averagedADXL345Data.avg_accel_x = ax_sum / sample_count;
                    averagedADXL345Data.avg_accel_y = ay_sum / sample_count;
                    averagedADXL345Data.avg_accel_z = az_sum / sample_count;
                    averagedADXL345Data.max_accel_x = ax_max;
                    averagedADXL345Data.max_accel_y = ay_max;
                    averagedADXL345Data.max_accel_z = az_max;

                    ax_sum = 0.0f;
                    ay_sum = 0.0f;
                    az_sum = 0.0f;
                    ax_max = -32768;
                    ay_max = -32768;
                    az_max = -32768;
                    sample_count = 0;
                } else {
                    averagedADXL345Data.avg_accel_x = 0.0f;
                    averagedADXL345Data.avg_accel_y = 0.0f;
                    averagedADXL345Data.avg_accel_z = 0.0f;
                    averagedADXL345Data.max_accel_x = 0;
                    averagedADXL345Data.max_accel_y = 0;
                    averagedADXL345Data.max_accel_z = 0;
                }

#ifdef MQTT_CLIENT_DEBUG
                printf("ADXL345: Avg X=%.2f, Y=%.2f, Z=%.2f, Max X=%d, Y=%d, Z=%d\n",
                       averagedADXL345Data.avg_accel_x, averagedADXL345Data.avg_accel_y,
                       averagedADXL345Data.avg_accel_z, averagedADXL345Data.max_accel_x,
                       averagedADXL345Data.max_accel_y, averagedADXL345Data.max_accel_z);
#endif

                xSemaphoreGive(sensorDataMutex);
            }

            int ret = client_mqtt_publish_sensor_data();
            if (ret != ERR_OK) {
                printf("Publish failed: %d\n", ret);
                if (ret == ERR_CONN || ret == ERR_MEM) {
                    mqtt_connected = false;
                    mqtt_connecting = false;
                    printf("Connection lost, retrying in 5 seconds...\n");
                    osDelay(pdMS_TO_TICKS(5000));
                }
            }
        } else if (!mqtt_connecting) {
            printf("MQTT not connected, attempting to connect...\n");
            mqtt_connecting = true;
            client_mqtt_init();
            TickType_t startTime = xTaskGetTickCount();
            while (mqtt_connecting && !mqtt_connected
                   && (xTaskGetTickCount() - startTime < pdMS_TO_TICKS(10000))) {
                osDelay(pdMS_TO_TICKS(100));
            }
            if (mqtt_connecting && !mqtt_connected) {
                printf("Connection attempt timed out, retrying in 5 seconds...\n");
                mqtt_connecting = false;
                osDelay(pdMS_TO_TICKS(5000));
            }
        } else {
            printf("MQTT connection in progress, waiting...\n");
            osDelay(pdMS_TO_TICKS(1000));
        }
        vTaskDelayUntil(&lastWakeTime, frequency);
    }
}

/** @} */
/* USER CODE END Application */
